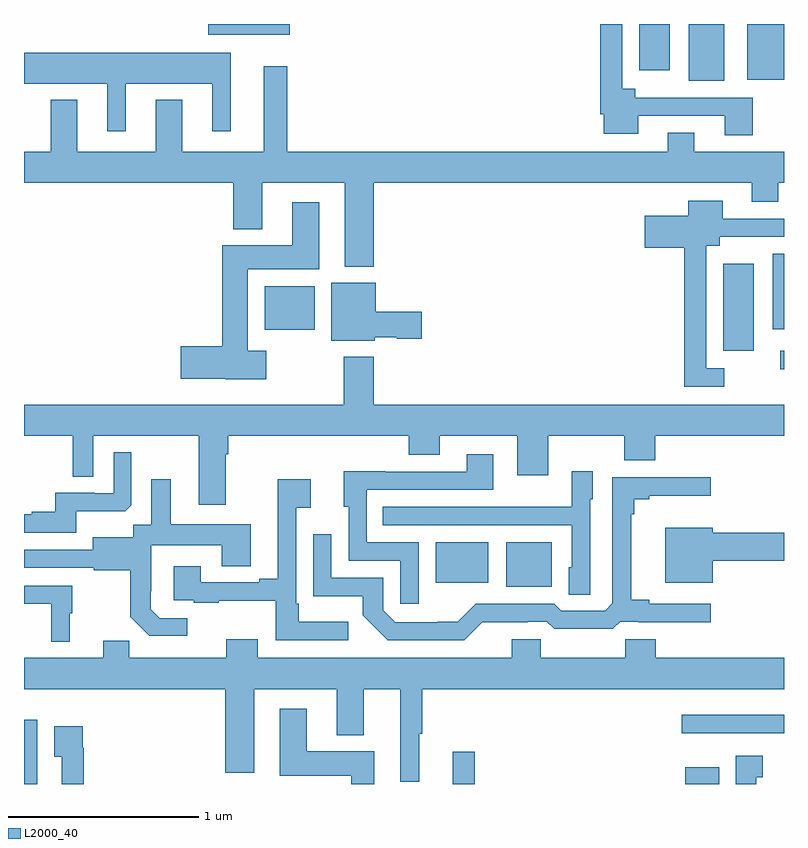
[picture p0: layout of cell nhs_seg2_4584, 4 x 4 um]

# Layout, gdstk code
import gdstk
lib = gdstk.Library(unit=1e-6, precision=1e-09)
def R(c, l, rs):  # rectangles x0, y0, x1, y1
    for r in rs: c.add(gdstk.rectangle(r[:2], r[2:], *l))
def P(c, l, *ps):  # polygons
    for p in ps: c.add(gdstk.Polygon(p, *l))
L2000_40 = (2000, 40)

nhs_seg2_4584 = lib.new_cell('nhs_seg2_4584')
R(nhs_seg2_4584, L2000_40, [(359,649.8,359.071,650.137), (361.256,649.8,361.373,649.969), (362.48,649.8,362.659,649.888), (362.463,650.067,363,650.164), (361.538,650.837,361.777,651.073), (361.166,650.858,361.444,651.073), (362.979,651.984,363,652.08), (362.681,652.079,362.842,652.537), (360.266,652.19,360.529,652.42), (362.942,652.193,363,652.591), (362.498,653.501,362.686,653.8), (362.807,653.507,363,653.8), (362.237,653.556,362.398,653.8), (359.97,653.744,360.399,653.8)])
P(nhs_seg2_4584, L2000_40, [(362.835,653.412),(362.218,653.412),(362.218,653.458),(362.148,653.458),(362.148,653.8),(362.032,653.8),(362.032,653.326),(362.051,653.326),(362.051,653.222),(362.233,653.222),(362.233,653.316),(362.687,653.316),(362.687,653.214),(362.835,653.214)],
  [(359.536,653.486),(359.99,653.486),(359.99,653.235),(360.088,653.235),(360.088,653.65),(359,653.65),(359,653.486),(359.438,653.486),(359.438,653.235),(359.536,653.235)],
  [(360.842,652.964),(362.831,652.964),(362.831,652.865),(362.971,652.865),(362.971,652.964),(363,652.964),(363,653.128),(362.527,653.128),(362.527,653.227),(362.387,653.227),(362.387,653.128),(360.385,653.128),(360.385,653.578),(360.263,653.578),(360.263,653.128),(359.833,653.128),(359.833,653.401),(359.693,653.401),(359.693,653.128),(359.281,653.128),(359.281,653.401),(359.141,653.401),(359.141,653.128),(359,653.128),(359,652.964),(360.101,652.964),(360.101,652.721),(360.253,652.721),(360.253,652.964),(360.689,652.964),(360.689,652.523),(360.842,652.523)],
  [(362.686,651.988),(362.592,651.988),(362.592,652.634),(362.662,652.634),(362.662,652.68),(363,652.68),(363,652.776),(362.677,652.776),(362.677,652.87),(362.495,652.87),(362.495,652.792),(362.268,652.792),(362.268,652.622),(362.476,652.622),(362.476,651.891),(362.686,651.891)],
  [(360.274,652.081),(360.178,652.081),(360.178,652.508),(360.553,652.508),(360.553,652.861),(360.413,652.861),(360.413,652.636),(360.044,652.636),(360.044,652.103),(359.826,652.103),(359.826,651.932),(360.06,651.932),(360.06,651.929),(360.274,651.929)],
  [(360.846,652.151),(360.963,652.151),(360.963,652.144),(361.093,652.144),(361.093,652.286),(360.85,652.286),(360.85,652.438),(360.617,652.438),(360.617,652.133),(360.846,652.133)],
  [(360.061,651.536),(360.074,651.536),(360.074,651.632),(361.025,651.632),(361.025,651.533),(361.189,651.533),(361.189,651.632),(361.595,651.632),(361.595,651.426),(361.759,651.426),(361.759,651.632),(362.159,651.632),(362.159,651.504),(362.323,651.504),(362.323,651.632),(363,651.632),(363,651.796),(360.842,651.796),(360.842,652.048),(360.682,652.048),(360.682,651.796),(359,651.796),(359,651.632),(359.256,651.632),(359.256,651.418),(359.364,651.418),(359.364,651.632),(359.921,651.632),(359.921,651.27),(360.061,651.27)],
  [(359.275,651.236),(359.533,651.236),(359.565,651.267),(359.565,651.547),(359.472,651.547),(359.472,651.33),(359.372,651.33),(359.372,651.333),(359.165,651.333),(359.165,651.232),(359.041,651.232),(359.041,651.22),(359,651.22),(359,651.123),(359.275,651.123)],
  [(361.077,651.072),(360.804,651.072),(360.804,651.348),(361.471,651.348),(361.471,651.535),(361.331,651.535),(361.331,651.444),(360.901,651.444),(360.901,651.446),(360.683,651.446),(360.683,651.258),(360.708,651.258),(360.708,650.976),(360.981,650.976),(360.981,650.748),(361.077,650.748)],
  [(361.98,651.3),(361.993,651.3),(361.993,651.445),(361.884,651.445),(361.884,651.259),(361.567,651.259),(361.567,651.258),(360.889,651.258),(360.889,651.162),(361.884,651.162),(361.884,650.94),(361.868,650.94),(361.868,650.797),(361.98,650.797)],
  [(361.412,650.651),(361.652,650.651),(361.652,650.655),(361.752,650.655),(361.792,650.616),(362.099,650.616),(362.139,650.655),(362.233,650.655),(362.233,650.651),(362.614,650.651),(362.614,650.748),(362.29,650.748),(362.29,650.771),(362.195,650.771),(362.195,651.221),(362.213,651.221),(362.213,651.298),(362.29,651.298),(362.29,651.317),(362.614,651.317),(362.614,651.414),(362.097,651.414),(362.097,650.751),(362.058,650.712),(361.827,650.712),(361.791,650.748),(361.377,650.748),(361.283,650.654),(361.178,650.654),(361.178,650.652),(360.954,650.652),(360.891,650.715),(360.891,650.886),(360.618,650.886),(360.618,651.115),(360.522,651.115),(360.522,650.789),(360.784,650.789),(360.784,650.687),(360.914,650.556),(361.317,650.556)],
  [(360.706,650.653),(360.445,650.653),(360.445,650.749),(360.432,650.749),(360.432,651.254),(360.508,651.254),(360.508,651.403),(360.335,651.403),(360.335,650.881),(360.239,650.881),(360.239,650.862),(359.929,650.862),(359.929,650.947),(359.789,650.947),(359.789,650.766),(359.893,650.766),(359.893,650.754),(360.025,650.754),(360.025,650.765),(360.324,650.765),(360.324,650.556),(360.706,650.556)],
  [(359.86,650.673),(359.715,650.673),(359.668,650.72),(359.668,650.815),(359.67,650.815),(359.67,651.056),(360.041,651.056),(360.041,650.947),(360.193,650.947),(360.193,651.166),(359.773,651.166),(359.773,651.403),(359.669,651.403),(359.669,651.164),(359.574,651.164),(359.574,651.1),(359.363,651.1),(359.363,651.033),(359,651.033),(359,650.937),(359.367,650.937),(359.367,650.925),(359.559,650.925),(359.559,650.679),(359.659,650.579),(359.86,650.579)],
  [(362.626,650.975),(363,650.975),(363,651.122),(362.626,651.122),(362.626,651.148),(362.375,651.148),(362.375,650.858),(362.626,650.858)],
  [(359.242,650.7),(359.254,650.7),(359.254,650.844),(359,650.844),(359,650.748),(359.144,650.748),(359.144,650.549),(359.242,650.549)],
  [(361.079,650.064),(361.097,650.064),(361.097,650.3),(363,650.3),(363,650.464),(362.324,650.464),(362.324,650.562),(362.164,650.562),(362.164,650.464),(361.719,650.464),(361.719,650.562),(361.568,650.562),(361.568,650.464),(360.229,650.464),(360.229,650.563),(360.065,650.563),(360.065,650.464),(359.555,650.464),(359.555,650.555),(359.417,650.555),(359.417,650.464),(359,650.464),(359,650.3),(360.059,650.3),(360.059,649.859),(360.211,649.859),(360.211,650.3),(360.647,650.3),(360.647,650.057),(360.787,650.057),(360.787,650.3),(360.98,650.3),(360.98,649.812),(361.079,649.812)],
  [(360.844,649.972),(360.487,649.972),(360.487,650.197),(360.347,650.197),(360.347,649.844),(360.722,649.844),(360.722,649.8),(360.844,649.8)],
  [(359.315,649.991),(359.308,649.991),(359.308,650.104),(359.159,650.104),(359.159,649.943),(359.199,649.943),(359.199,649.8),(359.315,649.8)],
  [(362.854,649.835),(362.887,649.835),(362.887,649.948),(362.747,649.948),(362.747,649.8),(362.854,649.8)])

lib.write_gds('nhs_seg2_4584.gds')
